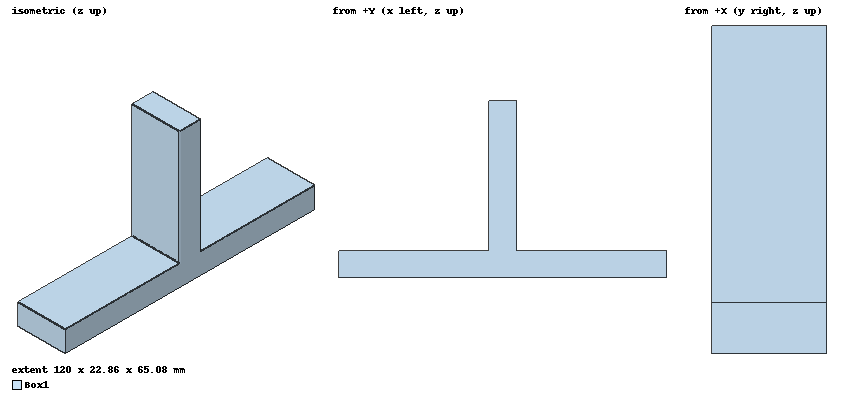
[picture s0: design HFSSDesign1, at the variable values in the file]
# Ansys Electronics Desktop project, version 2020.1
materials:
  vacuum: permittivity=1

design HFSSDesign1 (HFSS, DrivenModal, model units mm)
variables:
  a = 22.86mm
  b = 10.16mm
  h = 60mm
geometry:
  Box1 [vacuum] = box(corner=(0mm, -a/2, -b/2), size=(h, a, b))
  Box1_1 = Box1.duplicate_around_axis(axis=Z, angle=180deg, total=2)
  Box1_2 = Box1.duplicate_around_axis(axis=Y, angle=-90deg, total=2)
  Box1.unite(Box1_1, Box1_2)
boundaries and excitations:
  PerfE1: Perfect E Faces=Box1.face(1 of 6, at (-32.54, 0, 5.08), at (32.54, 0, 5.08), -y, +y, -z, 2 of 6)
  1: Wave Port Faces=Box1.face(+x) NumModes=1 Modes{Mode1{IntLine{middle of Box1.edge(5 of 12) -> (60mm, 0mm, 5mm)} CharImp=Zpi}}
  2: Wave Port Faces=Box1.face(6 of 6) NumModes=1 Modes{Mode1{IntLine{middle of Box1.edge(5 of 12) -> middle of Box1.edge(1 of 12)} CharImp=Zpi}}
  3: Wave Port Faces=Box1.face(6 of 6) NumModes=1 Modes{Mode1{IntLine{middle of Box1.edge(1 of 12) -> middle of Box1.edge(5 of 12)} CharImp=Zpi}}
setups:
  Setup1: HfssDriven Frequency=10GHz MaxDeltaS=0.02 MaximumPasses=20 MinimumPasses=1 MinimumConvergedPasses=1 PercentRefinement=30 BasisOrder=1 PortAccuracy=2
    sweep Sweep: 5GHz to 15GHz, 401 points; Type=Interpolating InterpTolerance=0.5 InterpMaxSolns=250 InterpUsePortImped=false PassivityErrorTolerance=0.0001
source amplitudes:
  1:1: 1W 0deg
  2:1, 3:1: 0W 0deg
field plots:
  Mag_E1: E Field in Box1 on Setup1 : LastAdaptive at Freq=10GHz Phase=0deg
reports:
  S Parameter Plot 1: mag(S(1,1)), mag(S(2,1)), mag(S(3,1)), mag(S(1,2)), mag(S(2,2)), mag(S(3,2)), mag(S(1,3)), mag(S(2,3)), mag(S(3,3)) vs Freq on Setup1 : Sweep; markers m1 at 6.575GHz
  S Parameter Table 1: mag(S(1,1)), ang_deg(S(1,1)), mag(S(2,1)), ang_deg(S(2,1)), mag(S(3,1)), ang_deg(S(3,1)), mag(S(1,2)), ang_deg(S(1,2)), mag(S(2,2)), ang_deg(S(2,2)), mag(S(3,2)), ang_deg(S(3,2)), mag(S(1,3)), ang_deg(S(1,3)), mag(S(2,3)), ang_deg(S(2,3)), mag(S(3,3)), ang_deg(S(3,3)) vs Freq on Setup1 : Sweep [Freq=6.575GHz]
  S Parameter Table 2: dB(S(1,1)), ang_deg(S(1,1)), dB(S(2,1)), ang_deg(S(2,1)), dB(S(3,1)), ang_deg(S(3,1)), dB(S(1,2)), ang_deg(S(1,2)), dB(S(2,2)), ang_deg(S(2,2)), dB(S(3,2)), ang_deg(S(3,2)), dB(S(1,3)), ang_deg(S(1,3)), dB(S(2,3)), ang_deg(S(2,3)), dB(S(3,3)), ang_deg(S(3,3)) vs Freq on Setup1 : Sweep
  S Parameter Table 3: dB(S(1,1)), ang_deg(S(1,1)), dB(S(2,1)), ang_deg(S(2,1)), dB(S(3,1)), ang_deg(S(3,1)), dB(S(1,2)), ang_deg(S(1,2)), dB(S(2,2)), ang_deg(S(2,2)), dB(S(3,2)), ang_deg(S(3,2)), dB(S(1,3)), ang_deg(S(1,3)), dB(S(2,3)), ang_deg(S(2,3)), dB(S(3,3)), ang_deg(S(3,3)) vs Freq on Setup1 : Sweep [Freq=6.575GHz]
